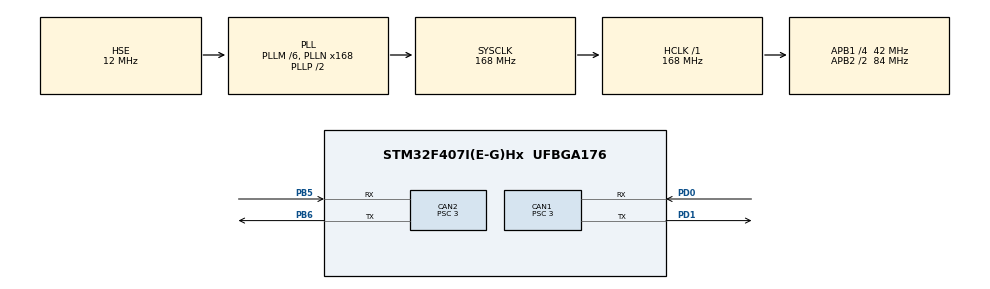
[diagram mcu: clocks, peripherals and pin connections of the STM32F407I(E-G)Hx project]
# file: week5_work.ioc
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CAN1.BS1=CAN_BS1_10TQ
CAN1.BS2=CAN_BS2_3TQ
CAN1.CalculateBaudRate=1000000
CAN1.CalculateTimeBit=1000
CAN1.CalculateTimeQuantum=71.42857142857143
CAN1.Prescaler=3
CAN1.TXFP=ENABLE
CAN2.BS1=CAN_BS1_10TQ
CAN2.BS2=CAN_BS2_3TQ
CAN2.CalculateBaudRate=1000000
CAN2.CalculateTimeBit=1000
CAN2.CalculateTimeQuantum=71.42857142857143
CAN2.Prescaler=3
CAN2.TXFP=ENABLE
Mcu.Family=STM32F4
Mcu.Name=STM32F407I(E-G)Hx
Mcu.Package=UFBGA176
NVIC.CAN1_RX0_IRQn=true\:0\:0\:false\:false\:true\:true\:true\:true
NVIC.CAN1_RX1_IRQn=true\:0\:0\:false\:false\:true\:true\:true\:true
NVIC.CAN2_RX0_IRQn=true\:0\:0\:false\:false\:true\:true\:true\:true
NVIC.CAN2_RX1_IRQn=true\:0\:0\:false\:false\:true\:true\:true\:true
NVIC.PriorityGroup=NVIC_PRIORITYGROUP_4
PA13.Mode=Serial_Wire
PA13.Signal=SYS_JTMS-SWDIO
PA14.Mode=Serial_Wire
PA14.Signal=SYS_JTCK-SWCLK
PB5.Mode=CAN_Activate
PB5.Signal=CAN2_RX
PB6.Mode=CAN_Activate
PB6.Signal=CAN2_TX
PD0.Mode=CAN_Activate
PD0.Signal=CAN1_RX
PD1.Mode=CAN_Activate
PD1.Signal=CAN1_TX
PH0-OSC_IN.Mode=HSE-External-Oscillator
PH0-OSC_IN.Signal=RCC_OSC_IN
PH1-OSC_OUT.Mode=HSE-External-Oscillator
PH1-OSC_OUT.Signal=RCC_OSC_OUT
ProjectManager.HeapSize=0x200
ProjectManager.StackSize=0x400
ProjectManager.TargetToolchain=Makefile
RCC.48MHZClocksFreq_Value=84000000
RCC.AHBFreq_Value=168000000
RCC.APB1CLKDivider=RCC_HCLK_DIV4
RCC.APB1Freq_Value=42000000
RCC.APB1TimFreq_Value=84000000
RCC.APB2CLKDivider=RCC_HCLK_DIV2
RCC.APB2Freq_Value=84000000
RCC.APB2TimFreq_Value=168000000
RCC.CortexFreq_Value=168000000
RCC.HCLKFreq_Value=168000000
RCC.HSE_VALUE=12000000
RCC.HSI_VALUE=16000000
RCC.LSE_VALUE=32768
RCC.PLLM=6
RCC.PLLN=168
RCC.PLLSourceVirtual=RCC_PLLSOURCE_HSE
RCC.SYSCLKFreq_VALUE=168000000
RCC.SYSCLKSource=RCC_SYSCLKSOURCE_PLLCLK
RCC.VCOOutputFreq_Value=336000000
board=custom

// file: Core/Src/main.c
/* USER CODE BEGIN Header */
/**
 ******************************************************************************
 * @file           : main.c
 * @brief          : Main program body
 ******************************************************************************
 * @attention
 *
 * Copyright (c) 2026 STMicroelectronics.
 * All rights reserved.
 *
 * This software is licensed under terms that can be found in the LICENSE file
 * in the root directory of this software component.
 * If no LICENSE file comes with this software, it is provided AS-IS.
 *
 ******************************************************************************
 */
/* USER CODE END Header */
#include "main.h"
#include "can.h"
#include "gpio.h"

/* USER CODE BEGIN Includes */

#include "stdlib.h"
#include "memory.h"
#include <math.h>
/* USER CODE END Includes */

/* USER CODE BEGIN PTD */
// 电机的信息
typedef struct _
{
  CAN_HandleTypeDef *can_handle; // can句柄
  CAN_TxHeaderTypeDef txconf;    // CAN报文发送配置
  uint32_t tx_id;                // 发送id
  uint32_t tx_mailbox;           // CAN消息填入的邮箱号
  uint8_t tx_buff[8];            // 发送缓存，长度可由CANSetDLC设定，最长8
  uint8_t rx_buff[8];            // 接收缓存，最长为8
  uint32_t rx_id;                // 接收id
  uint8_t rx_len;                // 接收长度，可能为0~8
} CANInstance;

// DJI电机CAN返回信息
typedef struct _dji_measure
{
  // 原始数据
  uint16_t ecd;         // 0~8191，刻度共8192格
  int16_t speed_rpm;    // 转速，有正有负
  int16_t real_current; // 实际电流
  uint8_t temperature;  // 电机温度

  // 处理后的数据
  int16_t real_current_handle; // 处理后电流
  float speed_aps;             // 角速度，angle per second
  uint16_t last_ecd;           // 上次读取到的编码器值
  float angle_single_round;    // 单圈角度
  float total_angle;           // 总角度，注意方向
  int32_t total_round;         // 总圈数，注意方向

} DJI_Motor_Measure_s;

#define PI 3.14159265358979f
float t = 0.0f;
CANInstance motor1;
DJI_Motor_Measure_s motor1_measure;
int16_t current;
float current_filter = 0.9f;
/* USER CODE END PTD */

/* USER CODE BEGIN PD */
void MotorDataRead(void)
{
  motor1_measure.ecd = (uint16_t)((motor1.rx_buff[0] << 8) | (motor1.rx_buff[1]));
  motor1_measure.speed_rpm = (int16_t)((motor1.rx_buff[2] << 8) | (motor1.rx_buff[3]));
  motor1_measure.real_current = (int16_t)((motor1.rx_buff[4] << 8) | motor1.rx_buff[5]);
  motor1_measure.temperature = (uint8_t)(motor1.rx_buff[6]);
}
/* USER CODE END PD */

/* USER CODE BEGIN PV */
static void CANFIFOxCallback(CAN_HandleTypeDef *_hcan, uint32_t fifox)
{
  static CAN_RxHeaderTypeDef rxconf;
  uint8_t can_rx_buff[8];
  while (HAL_CAN_GetRxFifoFillLevel(_hcan, fifox))
  {
    HAL_CAN_GetRxMessage(_hcan, fifox, &rxconf, can_rx_buff);
    if (_hcan == motor1.can_handle && rxconf.StdId == motor1.rx_id)
    {
      motor1.rx_len = rxconf.DLC;
      memcpy(motor1.rx_buff, can_rx_buff, rxconf.DLC);
      motor1_measure.last_ecd = motor1_measure.ecd;
      // 解析电机数据（本周任务点）
      MotorDataRead();
      // //对解析到的数据进行处理
      motor1_measure.angle_single_round = 360.0f / 8192.0f * (float)motor1_measure.ecd;
      motor1_measure.speed_aps = (1.0f - 0.85f) * motor1_measure.speed_aps + 0.85f * (360.0f / 60.0f) * (float)motor1_measure.speed_rpm;
      motor1_measure.real_current_handle = (1.0f - current_filter) * motor1_measure.real_current_handle + current_filter * (float)motor1_measure.real_current;
      // 多圈角度的计算
      if (motor1_measure.ecd - motor1_measure.last_ecd > 4096)
        motor1_measure.total_round--;
      else if (motor1_measure.ecd - motor1_measure.last_ecd < -4096)
        motor1_measure.total_round++;
      motor1_measure.total_angle = motor1_measure.total_round * 360 + motor1_measure.angle_single_round;

      return;
    }
  }
}

void HAL_CAN_RxFifo0MsgPendingCallback(CAN_HandleTypeDef *hcan)
{
  CANFIFOxCallback(hcan, CAN_RX_FIFO0);
}
void HAL_CAN_RxFifo1MsgPendingCallback(CAN_HandleTypeDef *hcan)
{
  CANFIFOxCallback(hcan, CAN_RX_FIFO1);
}
/* USER CODE END PV */

void SystemClock_Config(void);

int main(void)
{

  /* MCU Configuration--------------------------------------------------------*/

  /* Reset of all peripherals, Initializes the Flash interface and the Systick. */
  HAL_Init();

  /* Configure the system clock */
  SystemClock_Config();

  /* Initialize all configured peripherals */
  MX_GPIO_Init();
  MX_CAN1_Init();
  MX_CAN2_Init();

  /* USER CODE BEGIN 2 */
  // 初始化CAN服务
  HAL_CAN_Start(&hcan1); // 开启CAN，以及对应两个FIFO的中断服务
  HAL_CAN_ActivateNotification(&hcan1, CAN_IT_RX_FIFO0_MSG_PENDING);
  HAL_CAN_ActivateNotification(&hcan1, CAN_IT_RX_FIFO1_MSG_PENDING);
  HAL_CAN_Start(&hcan2);
  HAL_CAN_ActivateNotification(&hcan2, CAN_IT_RX_FIFO0_MSG_PENDING);
  HAL_CAN_ActivateNotification(&hcan2, CAN_IT_RX_FIFO1_MSG_PENDING);
  // 配置一个电机的基本参数
  motor1.txconf.StdId = 0x200;
  motor1.txconf.IDE = CAN_ID_STD;
  motor1.txconf.RTR = CAN_RTR_DATA;
  motor1.txconf.DLC = 8;
  motor1.can_handle = &hcan1;
  motor1.tx_id = 0x200;
  motor1.rx_id = 0x201;
  // 配置电机的过滤器
  CAN_FilterTypeDef can_filter_conf;
  static uint8_t can1_filter_idx = 0, can2_filter_idx = 14;
  can_filter_conf.FilterMode = CAN_FILTERMODE_IDLIST;
  can_filter_conf.FilterScale = CAN_FILTERSCALE_16BIT;
  can_filter_conf.FilterFIFOAssignment = (motor1.tx_id & 1) ? CAN_RX_FIFO0 : CAN_RX_FIFO1; // 尽可能均衡FIFO0和1
  can_filter_conf.SlaveStartFilterBank = 14;
  can_filter_conf.FilterIdLow = motor1.rx_id << 5;
  can_filter_conf.FilterBank = motor1.can_handle == &hcan1 ? (can1_filter_idx++) : (can2_filter_idx++);
  can_filter_conf.FilterActivation = CAN_FILTER_ENABLE;
  HAL_CAN_ConfigFilter(motor1.can_handle, &can_filter_conf);
  /* USER CODE END 2 */

  /* Infinite loop */
  while (1)
  {
    current = 1000 * sin(t * PI);
    t += 0.02f;
    if (HAL_CAN_GetTxMailboxesFreeLevel(motor1.can_handle) == 0)
      ;
    else
    {
      motor1.tx_buff[0] = (uint8_t)(current >> 8);     // 高8位
      motor1.tx_buff[1] = (uint8_t)(current & 0x00ff); // 低8位
      motor1.tx_buff[2] = 0;
      motor1.tx_buff[3] = 0;
      motor1.tx_buff[4] = 0;
      motor1.tx_buff[5] = 0;
      motor1.tx_buff[6] = 0;
      motor1.tx_buff[7] = 0;
      HAL_CAN_AddTxMessage(motor1.can_handle, &motor1.txconf, motor1.tx_buff, &motor1.tx_mailbox);
    }
    HAL_Delay(10);

  }
}

void SystemClock_Config(void)
{
  RCC_OscInitTypeDef RCC_OscInitStruct = {0};
  RCC_ClkInitTypeDef RCC_ClkInitStruct = {0};

  /** Configure the main internal regulator output voltage
   */
  __HAL_RCC_PWR_CLK_ENABLE();
  __HAL_PWR_VOLTAGESCALING_CONFIG(PWR_REGULATOR_VOLTAGE_SCALE1);

  /** Initializes the RCC Oscillators according to the specified parameters
   * in the RCC_OscInitTypeDef structure.
   */
  RCC_OscInitStruct.OscillatorType = RCC_OSCILLATORTYPE_HSE;
  RCC_OscInitStruct.HSEState = RCC_HSE_ON;
  RCC_OscInitStruct.PLL.PLLState = RCC_PLL_ON;
  RCC_OscInitStruct.PLL.PLLSource = RCC_PLLSOURCE_HSE;
  RCC_OscInitStruct.PLL.PLLM = 6;
  RCC_OscInitStruct.PLL.PLLN = 168;
  RCC_OscInitStruct.PLL.PLLP = RCC_PLLP_DIV2;
  RCC_OscInitStruct.PLL.PLLQ = 4;
  if (HAL_RCC_OscConfig(&RCC_OscInitStruct) != HAL_OK)
  {
    Error_Handler();
  }

  /** Initializes the CPU, AHB and APB buses clocks
   */
  RCC_ClkInitStruct.ClockType = RCC_CLOCKTYPE_HCLK | RCC_CLOCKTYPE_SYSCLK | RCC_CLOCKTYPE_PCLK1 | RCC_CLOCKTYPE_PCLK2;
  RCC_ClkInitStruct.SYSCLKSource = RCC_SYSCLKSOURCE_PLLCLK;
  RCC_ClkInitStruct.AHBCLKDivider = RCC_SYSCLK_DIV1;
  RCC_ClkInitStruct.APB1CLKDivider = RCC_HCLK_DIV4;
  RCC_ClkInitStruct.APB2CLKDivider = RCC_HCLK_DIV2;

  if (HAL_RCC_ClockConfig(&RCC_ClkInitStruct, FLASH_LATENCY_5) != HAL_OK)
  {
    Error_Handler();
  }
}

void Error_Handler(void)
{
  __disable_irq();
  while (1)
  {
  }
}
